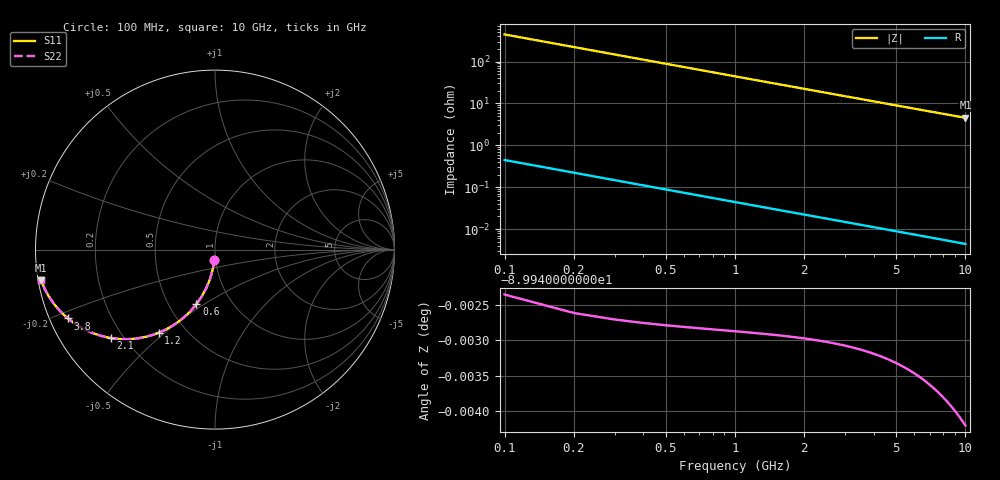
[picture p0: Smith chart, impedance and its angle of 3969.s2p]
# Hz S RI R 50.00
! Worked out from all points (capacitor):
!   100 points, 100 MHz to 10 GHz, reference 50 ohm
!   read as one part in shunt: C = 3.6 pF near 100 MHz
!   lowest |Z| = 4.54 ohm at 10 GHz (marker M1)
!   S11 on the Smith chart (normalised r, x): 100 MHz: 0.99, -0.11; 600 MHz: 0.69, -0.46; 1.2 GHz: 0.35, -0.48; 2.1 GHz: 0.15, -0.36; 3.8 GHz: 0.05, -0.22; 10 GHz: 0.01, -0.09
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1e8  -0.00324 -0.0563  0.9968 -0.0564  0.9968 -0.0564  -0.00324 -0.0563
2e8  -0.0127 -0.1115  0.9873 -0.1116  0.9873 -0.1116  -0.0127 -0.1115
3e8  -0.0281 -0.1647  0.9719 -0.1648  0.9719 -0.1648  -0.0281 -0.1647
4e8  -0.0488 -0.2148  0.9512 -0.215  0.9512 -0.215  -0.0488 -0.2148
5e8  -0.0741 -0.2613  0.9259 -0.2615  0.9259 -0.2615  -0.0741 -0.2613
6e8  -0.1032 -0.3036  0.8968 -0.3039  0.8968 -0.3039  -0.1032 -0.3036
7e8  -0.1353 -0.3414  0.8647 -0.3417  0.8647 -0.3417  -0.1353 -0.3414
9e8  -0.2052 -0.4031  0.7948 -0.4035  0.7948 -0.4035  -0.2052 -0.4031
1.2e9  -0.314 -0.4633  0.686 -0.4639  0.686 -0.4639  -0.314 -0.4633
1.5e9  -0.4164 -0.4921  0.5836 -0.4928  0.5836 -0.4928  -0.4164 -0.4921
1.8e9  -0.5062 -0.499  0.4938 -0.4999  0.4938 -0.4999  -0.5062 -0.499
2.1e9  -0.582 -0.4922  0.418 -0.4932  0.418 -0.4932  -0.582 -0.4922
2.4e9  -0.6448 -0.4775  0.3552 -0.4786  0.3552 -0.4786  -0.6448 -0.4775
2.7e9  -0.6964 -0.4587  0.3036 -0.46  0.3036 -0.46  -0.6964 -0.4587
3e9  -0.7387 -0.4381  0.2613 -0.4396  0.2613 -0.4396  -0.7387 -0.4381
3.4e9  -0.7837 -0.4104  0.2163 -0.412  0.2163 -0.412  -0.7837 -0.4104
3.8e9  -0.8188 -0.3838  0.1812 -0.3856  0.1812 -0.3856  -0.8188 -0.3838
4.4e9  -0.8581 -0.3474  0.1419 -0.3495  0.1419 -0.3495  -0.8581 -0.3474
5.1e9  -0.8902 -0.3109  0.1098 -0.3134  0.1098 -0.3134  -0.8902 -0.3109
6.7e9  -0.9331 -0.2477  0.0669 -0.251  0.0669 -0.251  -0.9331 -0.2477
8.4e9  -0.9563 -0.2018  0.0437 -0.2059  0.0437 -0.2059  -0.9563 -0.2018
1e10  -0.9688 -0.171  0.0312 -0.1759  0.0312 -0.1759  -0.9688 -0.171
